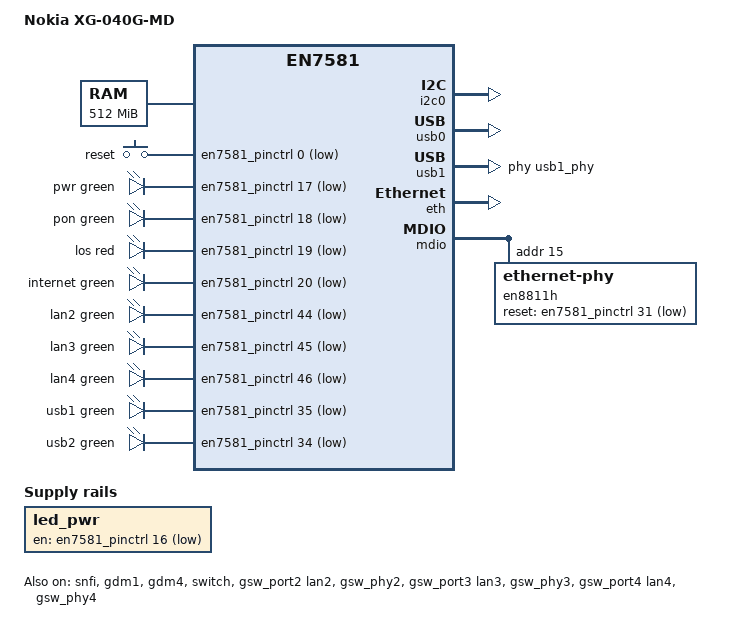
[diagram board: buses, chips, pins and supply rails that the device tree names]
// SPDX-License-Identifier: (GPL-2.0-only OR BSD-2-Clause)
/dts-v1/;

/* Bootloader installs ATF here */
/memreserve/ 0x80000000 0x200000;

#include <dt-bindings/leds/common.h>
#include <dt-bindings/gpio/gpio.h>
#include <dt-bindings/input/input.h>
#include "an7581.dtsi"

/ {
	model = "Nokia XG-040G-MD";
	compatible = "nokia,xg-040g-md", "airoha,an7581", "airoha,en7581";

	aliases {
		serial0 = &uart1;
	};

	chosen {
		bootargs = "console=ttyS0,115200 earlycon";
		stdout-path = "serial0:115200n8";
		linux,usable-memory-range = <0x0 0x80200000 0x0 0x1fe00000>;
	};

	memory@80000000 {
		device_type = "memory";
		reg = <0x0 0x80000000 0x0 0x20000000>;
	};

	gpio-keys-polled {
		compatible = "gpio-keys-polled";
		poll-interval = <100>;

		btn0 {
			label = "reset";
			linux,code = <KEY_RESTART>;
			gpios = <&en7581_pinctrl 0 GPIO_ACTIVE_LOW>;
		};
	};

	leds {
		compatible = "gpio-leds";

		pwr_led: led-0 {
			label = "pwr";
			color = <LED_COLOR_ID_GREEN>;
			function = LED_FUNCTION_POWER;
			gpios = <&en7581_pinctrl 17 GPIO_ACTIVE_LOW>;
			default-state = "on";
		};

		pon_led: led-1 {
			label = "pon";
			color = <LED_COLOR_ID_GREEN>;
			function = LED_FUNCTION_STATUS;
			gpios = <&en7581_pinctrl 18 GPIO_ACTIVE_LOW>;
			default-state = "off";
		};

		los_led: led-2 {
			label = "los";
			color = <LED_COLOR_ID_RED>;
			function = LED_FUNCTION_STATUS;
			gpios = <&en7581_pinctrl 19 GPIO_ACTIVE_LOW>;
			default-state = "off";
		};

		internet_led: led-3 {
			label = "internet";
			color = <LED_COLOR_ID_GREEN>;
			function = LED_FUNCTION_STATUS;
			gpios = <&en7581_pinctrl 20 GPIO_ACTIVE_LOW>;
			default-state = "off";
		};

#if 1
		lan2_led: led-4 {
			label = "lan2";
			color = <LED_COLOR_ID_GREEN>;
			function = LED_FUNCTION_LAN;
			gpios = <&en7581_pinctrl 44 GPIO_ACTIVE_LOW>;
			default-state = "off";
		};

		lan3_led: led-5 {
			label = "lan3";
			color = <LED_COLOR_ID_GREEN>;
			function = LED_FUNCTION_LAN;
			gpios = <&en7581_pinctrl 45 GPIO_ACTIVE_LOW>;
			default-state = "off";
		};

		lan4_led: led-6 {
			label = "lan4";
			color = <LED_COLOR_ID_GREEN>;
			function = LED_FUNCTION_LAN;
			gpios = <&en7581_pinctrl 46 GPIO_ACTIVE_LOW>;
			default-state = "off";
		};
#endif

		usb1_led: led-7 {
			label = "usb1";
			color = <LED_COLOR_ID_GREEN>;
			function = LED_FUNCTION_USB;
			gpios = <&en7581_pinctrl 35 GPIO_ACTIVE_LOW>;
			default-state = "off";
		};

		usb2_led: led-8 {
			label = "usb2";
			color = <LED_COLOR_ID_GREEN>;
			function = LED_FUNCTION_USB;
			gpios = <&en7581_pinctrl 34 GPIO_ACTIVE_LOW>;
			default-state = "off";
		};
	};

	regulator-led-pwr {
		compatible = "regulator-fixed";
		enable-active-low;
		gpio = <&en7581_pinctrl 16 GPIO_ACTIVE_LOW>;
		regulator-name = "led_pwr";
		regulator-always-on;
		regulator-boot-on;
	};
};

&en7581_pinctrl {
	gpio-ranges = <&en7581_pinctrl 0 13 47>;

	mdio_pins: mdio-pins {
		mux {
			function = "mdio";
			groups = "mdio";
		};

		conf {
			pins = "gpio2";
			output-high;
		};
	};

#if 0
	gswp2_led1_pins: gswp2-led1-pins {
		mux {
			function = "phy2_led1";
			pins = "gpio44";
		};
	};

	gswp3_led1_pins: gswp3-led1-pins {
		mux {
			function = "phy3_led1";
			pins = "gpio45";
		};
	};

	gswp4_led1_pins: gswp4-led1-pins {
		mux {
			function = "phy4_led1";
			pins = "gpio46";
		};
	};
#endif
};

&snfi {
	status = "okay";
};

&spi_nand {
	partitions {
		compatible = "fixed-partitions";
		#address-cells = <1>;
		#size-cells = <1>;

		bootloader@0 {
			label = "bootloader";
			reg = <0x00000000 0x00080000>;
			read-only;
		};

		u-boot-env@80000 {
			label = "u-boot-env";
			reg = <0x00080000 0x00080000>;
		};

		ubi@100000 {
			label = "ubi";
			reg = <0x00100000 0x00000000>;
		};
	};
};

&i2c0 {
	status = "okay";
};

&usb0 {
	status = "okay";
};

&usb1 {
	status = "okay";
	mediatek,u3p-dis-msk = <0x1>;
	phys = <&usb1_phy PHY_TYPE_USB2>;
};

&eth {
	status = "okay";
};

&gdm1 {
	status = "okay";
};

&gdm4 {
	status = "okay";
	phy-mode = "2500base-x";
	phy-handle = <&en8811h>;
};

&switch {
	pinctrl-names = "default";
	pinctrl-0 = <&mdio_pins>;
	status = "okay";
};

&gsw_port2 {
	status = "okay";
	label = "lan2";
};

&gsw_phy2 {
	/* pinctrl-names = "gbe-led"; */
	/* pinctrl-0 = <&gswp2_led1_pins>; */
	status = "okay";
};

&gsw_phy2_led1 {
	/* status = "okay"; */
	function = LED_FUNCTION_LAN;
};

&gsw_port3 {
	status = "okay";
	label = "lan3";
};

&gsw_phy3 {
	/* pinctrl-names = "gbe-led"; */
	/* pinctrl-0 = <&gswp3_led1_pins>; */
	status = "okay";
};

&gsw_phy3_led1 {
	/* status = "okay"; */
	function = LED_FUNCTION_LAN;
};

&gsw_port4 {
	status = "okay";
	label = "lan4";
};

&gsw_phy4 {
	/* pinctrl-names = "gbe-led"; */
	/* pinctrl-0 = <&gswp4_led1_pins>; */
	status = "okay";
};

&gsw_phy4_led1 {
	/* status = "okay"; */
	function = LED_FUNCTION_LAN;
};

&mdio {
	en8811h: ethernet-phy@f {
		reg = <15>;
		reset-gpios = <&en7581_pinctrl 31 GPIO_ACTIVE_LOW>;
		reset-assert-us = <10000>;
		reset-deassert-us = <20000>;
		phy-mode = "2500base-x";
		full-duplex;
		pause;

		leds {
			#address-cells = <1>;
			#size-cells = <0>;

			led@0 { /* en8811_b_gpio5 */
				reg = <0>;
				label = "wan";
				color = <LED_COLOR_ID_GREEN>;
				function = LED_FUNCTION_WAN;
				default-state = "keep";
			};
		};
	};
};
